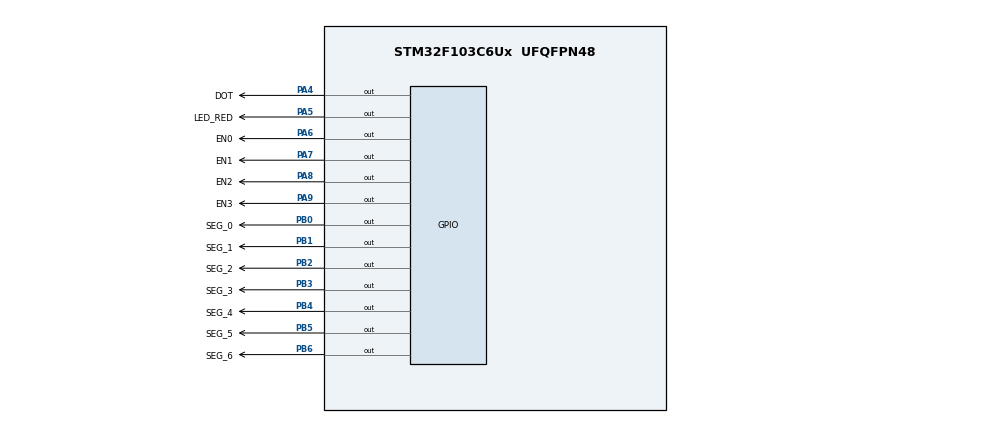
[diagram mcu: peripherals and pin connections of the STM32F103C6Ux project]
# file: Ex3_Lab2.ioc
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Mcu.Family=STM32F1
Mcu.Name=STM32F103C6Ux
Mcu.Package=UFQFPN48
NVIC.PriorityGroup=NVIC_PRIORITYGROUP_4
NVIC.TIM2_IRQn=true\:0\:0\:false\:false\:true\:true\:true
PA4.GPIO_Label=DOT
PA4.Signal=GPIO_Output
PA5.GPIO_Label=LED_RED
PA5.Signal=GPIO_Output
PA6.GPIO_Label=EN0
PA6.Signal=GPIO_Output
PA7.GPIO_Label=EN1
PA7.Signal=GPIO_Output
PA8.GPIO_Label=EN2
PA8.Signal=GPIO_Output
PA9.GPIO_Label=EN3
PA9.Signal=GPIO_Output
PB0.GPIO_Label=SEG_0
PB0.Signal=GPIO_Output
PB1.GPIO_Label=SEG_1
PB1.Signal=GPIO_Output
PB2.GPIO_Label=SEG_2
PB2.Signal=GPIO_Output
PB3.GPIO_Label=SEG_3
PB3.Signal=GPIO_Output
PB4.GPIO_Label=SEG_4
PB4.Signal=GPIO_Output
PB5.GPIO_Label=SEG_5
PB5.Signal=GPIO_Output
PB6.GPIO_Label=SEG_6
PB6.Signal=GPIO_Output
ProjectManager.HeapSize=0x200
ProjectManager.StackSize=0x400
ProjectManager.TargetToolchain=STM32CubeIDE
RCC.APB1Freq_Value=8000000
RCC.APB2Freq_Value=8000000
TIM2.Period=9
TIM2.Prescaler=7999
VP_SYS_VS_ND.Mode=No_Debug
VP_TIM2_VS_ClockSourceINT.Mode=Internal
board=custom

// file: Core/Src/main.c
/* USER CODE BEGIN Header */
/**
  ******************************************************************************
  * @file           : main.c
  * @brief          : Main program body
  ******************************************************************************
  * @attention
  *
  * <h2><center>&copy; Copyright (c) 2024 STMicroelectronics.
  * All rights reserved.</center></h2>
  *
  * This software component is licensed by ST under BSD 3-Clause license,
  * the "License"; You may not use this file except in compliance with the
  * License. You may obtain a copy of the License at:
  *                        opensource.org/licenses/BSD-3-Clause
  *
  ******************************************************************************
  */
/* USER CODE END Header */
#include "main.h"

TIM_HandleTypeDef htim2;

void SystemClock_Config(void);
static void MX_GPIO_Init(void);
static void MX_TIM2_Init(void);

int main(void)
{

  /* MCU Configuration--------------------------------------------------------*/

  /* Reset of all peripherals, Initializes the Flash interface and the Systick. */
  HAL_Init();

  /* Configure the system clock */
  SystemClock_Config();

  /* Initialize all configured peripherals */
  MX_GPIO_Init();
  MX_TIM2_Init();
  /* USER CODE BEGIN 2 */
  HAL_TIM_Base_Start_IT(&htim2);

  /* USER CODE END 2 */

  /* Infinite loop */
  while (1)
  {

  }
}

void SystemClock_Config(void)
{
  RCC_OscInitTypeDef RCC_OscInitStruct = {0};
  RCC_ClkInitTypeDef RCC_ClkInitStruct = {0};

  /** Initializes the RCC Oscillators according to the specified parameters
  * in the RCC_OscInitTypeDef structure.
  */
  RCC_OscInitStruct.OscillatorType = RCC_OSCILLATORTYPE_HSI;
  RCC_OscInitStruct.HSIState = RCC_HSI_ON;
  RCC_OscInitStruct.HSICalibrationValue = RCC_HSICALIBRATION_DEFAULT;
  RCC_OscInitStruct.PLL.PLLState = RCC_PLL_NONE;
  if (HAL_RCC_OscConfig(&RCC_OscInitStruct) != HAL_OK)
  {
    Error_Handler();
  }
  /** Initializes the CPU, AHB and APB buses clocks
  */
  RCC_ClkInitStruct.ClockType = RCC_CLOCKTYPE_HCLK|RCC_CLOCKTYPE_SYSCLK
                              |RCC_CLOCKTYPE_PCLK1|RCC_CLOCKTYPE_PCLK2;
  RCC_ClkInitStruct.SYSCLKSource = RCC_SYSCLKSOURCE_HSI;
  RCC_ClkInitStruct.AHBCLKDivider = RCC_SYSCLK_DIV1;
  RCC_ClkInitStruct.APB1CLKDivider = RCC_HCLK_DIV1;
  RCC_ClkInitStruct.APB2CLKDivider = RCC_HCLK_DIV1;

  if (HAL_RCC_ClockConfig(&RCC_ClkInitStruct, FLASH_LATENCY_0) != HAL_OK)
  {
    Error_Handler();
  }
}

static void MX_TIM2_Init(void)
{

  TIM_ClockConfigTypeDef sClockSourceConfig = {0};
  TIM_MasterConfigTypeDef sMasterConfig = {0};

  htim2.Instance = TIM2;
  htim2.Init.Prescaler = 7999;
  htim2.Init.CounterMode = TIM_COUNTERMODE_UP;
  htim2.Init.Period = 9;
  htim2.Init.ClockDivision = TIM_CLOCKDIVISION_DIV1;
  htim2.Init.AutoReloadPreload = TIM_AUTORELOAD_PRELOAD_DISABLE;
  if (HAL_TIM_Base_Init(&htim2) != HAL_OK)
  {
    Error_Handler();
  }
  sClockSourceConfig.ClockSource = TIM_CLOCKSOURCE_INTERNAL;
  if (HAL_TIM_ConfigClockSource(&htim2, &sClockSourceConfig) != HAL_OK)
  {
    Error_Handler();
  }
  sMasterConfig.MasterOutputTrigger = TIM_TRGO_RESET;
  sMasterConfig.MasterSlaveMode = TIM_MASTERSLAVEMODE_DISABLE;
  if (HAL_TIMEx_MasterConfigSynchronization(&htim2, &sMasterConfig) != HAL_OK)
  {
    Error_Handler();
  }

}

static void MX_GPIO_Init(void)
{
  GPIO_InitTypeDef GPIO_InitStruct = {0};

  /* GPIO Ports Clock Enable */
  __HAL_RCC_GPIOA_CLK_ENABLE();
  __HAL_RCC_GPIOB_CLK_ENABLE();

  /*Configure GPIO pin Output Level */
  HAL_GPIO_WritePin(GPIOA, DOT_Pin|LED_RED_Pin|EN0_Pin|EN1_Pin
                          |EN2_Pin|EN3_Pin, GPIO_PIN_RESET);

  /*Configure GPIO pin Output Level */
  HAL_GPIO_WritePin(GPIOB, SEG_0_Pin|SEG_1_Pin|SEG_2_Pin|SEG_3_Pin
                          |SEG_4_Pin|SEG_5_Pin|SEG_6_Pin, GPIO_PIN_RESET);

  /*Configure GPIO pins : DOT_Pin LED_RED_Pin EN0_Pin EN1_Pin
                           EN2_Pin EN3_Pin */
  GPIO_InitStruct.Pin = DOT_Pin|LED_RED_Pin|EN0_Pin|EN1_Pin
                          |EN2_Pin|EN3_Pin;
  GPIO_InitStruct.Mode = GPIO_MODE_OUTPUT_PP;
  GPIO_InitStruct.Pull = GPIO_NOPULL;
  GPIO_InitStruct.Speed = GPIO_SPEED_FREQ_LOW;
  HAL_GPIO_Init(GPIOA, &GPIO_InitStruct);

  /*Configure GPIO pins : SEG_0_Pin SEG_1_Pin SEG_2_Pin SEG_3_Pin
                           SEG_4_Pin SEG_5_Pin SEG_6_Pin */
  GPIO_InitStruct.Pin = SEG_0_Pin|SEG_1_Pin|SEG_2_Pin|SEG_3_Pin
                          |SEG_4_Pin|SEG_5_Pin|SEG_6_Pin;
  GPIO_InitStruct.Mode = GPIO_MODE_OUTPUT_PP;
  GPIO_InitStruct.Pull = GPIO_NOPULL;
  GPIO_InitStruct.Speed = GPIO_SPEED_FREQ_LOW;
  HAL_GPIO_Init(GPIOB, &GPIO_InitStruct);

}

/* USER CODE BEGIN 4 */
void display7SEG(int num)
  {
	  if (num == 0)
	  {
		  HAL_GPIO_WritePin(SEG_0_GPIO_Port, SEG_0_Pin, GPIO_PIN_RESET);
		  HAL_GPIO_WritePin(SEG_1_GPIO_Port, SEG_1_Pin, GPIO_PIN_RESET);
		  HAL_GPIO_WritePin(SEG_2_GPIO_Port, SEG_2_Pin, GPIO_PIN_RESET);
		  HAL_GPIO_WritePin(SEG_3_GPIO_Port, SEG_3_Pin, GPIO_PIN_RESET);
		  HAL_GPIO_WritePin(SEG_4_GPIO_Port, SEG_4_Pin, GPIO_PIN_RESET);
		  HAL_GPIO_WritePin(SEG_5_GPIO_Port, SEG_5_Pin, GPIO_PIN_RESET);
		  HAL_GPIO_WritePin(SEG_6_GPIO_Port, SEG_6_Pin, GPIO_PIN_SET);
	  }
	  else if (num == 1)
	  {
		  HAL_GPIO_WritePin(SEG_0_GPIO_Port, SEG_0_Pin, GPIO_PIN_SET);
		  HAL_GPIO_WritePin(SEG_1_GPIO_Port, SEG_1_Pin, GPIO_PIN_RESET);
		  HAL_GPIO_WritePin(SEG_2_GPIO_Port, SEG_2_Pin, GPIO_PIN_RESET);
		  HAL_GPIO_WritePin(SEG_3_GPIO_Port, SEG_3_Pin, GPIO_PIN_SET);
		  HAL_GPIO_WritePin(SEG_4_GPIO_Port, SEG_4_Pin, GPIO_PIN_SET);
		  HAL_GPIO_WritePin(SEG_5_GPIO_Port, SEG_5_Pin, GPIO_PIN_SET);
		  HAL_GPIO_WritePin(SEG_6_GPIO_Port, SEG_6_Pin, GPIO_PIN_SET);
	  }
	  else if (num == 2)
	  {
		  HAL_GPIO_WritePin(SEG_0_GPIO_Port, SEG_0_Pin, GPIO_PIN_RESET);
		  HAL_GPIO_WritePin(SEG_1_GPIO_Port, SEG_1_Pin, GPIO_PIN_RESET);
		  HAL_GPIO_WritePin(SEG_2_GPIO_Port, SEG_2_Pin, GPIO_PIN_SET);
		  HAL_GPIO_WritePin(SEG_3_GPIO_Port, SEG_3_Pin, GPIO_PIN_RESET);
		  HAL_GPIO_WritePin(SEG_4_GPIO_Port, SEG_4_Pin, GPIO_PIN_RESET);
		  HAL_GPIO_WritePin(SEG_5_GPIO_Port, SEG_5_Pin, GPIO_PIN_SET);
		  HAL_GPIO_WritePin(SEG_6_GPIO_Port, SEG_6_Pin, GPIO_PIN_RESET);
	  }
	  else if (num == 3)
	  {
		  HAL_GPIO_WritePin(SEG_0_GPIO_Port, SEG_0_Pin, GPIO_PIN_RESET);
		  HAL_GPIO_WritePin(SEG_1_GPIO_Port, SEG_1_Pin, GPIO_PIN_RESET);
		  HAL_GPIO_WritePin(SEG_2_GPIO_Port, SEG_2_Pin, GPIO_PIN_RESET);
		  HAL_GPIO_WritePin(SEG_3_GPIO_Port, SEG_3_Pin, GPIO_PIN_RESET);
		  HAL_GPIO_WritePin(SEG_4_GPIO_Port, SEG_4_Pin, GPIO_PIN_SET);
		  HAL_GPIO_WritePin(SEG_5_GPIO_Port, SEG_5_Pin, GPIO_PIN_SET);
		  HAL_GPIO_WritePin(SEG_6_GPIO_Port, SEG_6_Pin, GPIO_PIN_RESET);
	  }
	  else if (num == 4)
	  {
		  HAL_GPIO_WritePin(SEG_0_GPIO_Port, SEG_0_Pin, GPIO_PIN_SET);
		  HAL_GPIO_WritePin(SEG_1_GPIO_Port, SEG_1_Pin, GPIO_PIN_RESET);
		  HAL_GPIO_WritePin(SEG_2_GPIO_Port, SEG_2_Pin, GPIO_PIN_RESET);
		  HAL_GPIO_WritePin(SEG_3_GPIO_Port, SEG_3_Pin, GPIO_PIN_SET);
		  HAL_GPIO_WritePin(SEG_4_GPIO_Port, SEG_4_Pin, GPIO_PIN_SET);
		  HAL_GPIO_WritePin(SEG_5_GPIO_Port, SEG_5_Pin, GPIO_PIN_RESET);
		  HAL_GPIO_WritePin(SEG_6_GPIO_Port, SEG_6_Pin, GPIO_PIN_RESET);
	  }
	  else if (num == 5)
	  {
		  HAL_GPIO_WritePin(SEG_0_GPIO_Port, SEG_0_Pin, GPIO_PIN_RESET);
		  HAL_GPIO_WritePin(SEG_1_GPIO_Port, SEG_1_Pin, GPIO_PIN_SET);
		  HAL_GPIO_WritePin(SEG_2_GPIO_Port, SEG_2_Pin, GPIO_PIN_RESET);
		  HAL_GPIO_WritePin(SEG_3_GPIO_Port, SEG_3_Pin, GPIO_PIN_RESET);
		  HAL_GPIO_WritePin(SEG_4_GPIO_Port, SEG_4_Pin, GPIO_PIN_SET);
		  HAL_GPIO_WritePin(SEG_5_GPIO_Port, SEG_5_Pin, GPIO_PIN_RESET);
		  HAL_GPIO_WritePin(SEG_6_GPIO_Port, SEG_6_Pin, GPIO_PIN_RESET);
	  }
	  else if (num == 6)
	  {
		  HAL_GPIO_WritePin(SEG_0_GPIO_Port, SEG_0_Pin, GPIO_PIN_RESET);
		  HAL_GPIO_WritePin(SEG_1_GPIO_Port, SEG_1_Pin, GPIO_PIN_SET);
		  HAL_GPIO_WritePin(SEG_2_GPIO_Port, SEG_2_Pin, GPIO_PIN_RESET);
		  HAL_GPIO_WritePin(SEG_3_GPIO_Port, SEG_3_Pin, GPIO_PIN_RESET);
		  HAL_GPIO_WritePin(SEG_4_GPIO_Port, SEG_4_Pin, GPIO_PIN_RESET);
		  HAL_GPIO_WritePin(SEG_5_GPIO_Port, SEG_5_Pin, GPIO_PIN_RESET);
		  HAL_GPIO_WritePin(SEG_6_GPIO_Port, SEG_6_Pin, GPIO_PIN_RESET);
	  }
	  else if (num == 7)
	  {
		  HAL_GPIO_WritePin(SEG_0_GPIO_Port, SEG_0_Pin, GPIO_PIN_RESET);
		  HAL_GPIO_WritePin(SEG_1_GPIO_Port, SEG_1_Pin, GPIO_PIN_RESET);
		  HAL_GPIO_WritePin(SEG_2_GPIO_Port, SEG_2_Pin, GPIO_PIN_RESET);
		  HAL_GPIO_WritePin(SEG_3_GPIO_Port, SEG_3_Pin, GPIO_PIN_SET);
		  HAL_GPIO_WritePin(SEG_4_GPIO_Port, SEG_4_Pin, GPIO_PIN_SET);
		  HAL_GPIO_WritePin(SEG_5_GPIO_Port, SEG_5_Pin, GPIO_PIN_SET);
		  HAL_GPIO_WritePin(SEG_6_GPIO_Port, SEG_6_Pin, GPIO_PIN_SET);
	  }
	  else if (num == 8)
	  {
		  HAL_GPIO_WritePin(SEG_0_GPIO_Port, SEG_0_Pin, GPIO_PIN_RESET);
		  HAL_GPIO_WritePin(SEG_1_GPIO_Port, SEG_1_Pin, GPIO_PIN_RESET);
		  HAL_GPIO_WritePin(SEG_2_GPIO_Port, SEG_2_Pin, GPIO_PIN_RESET);
		  HAL_GPIO_WritePin(SEG_3_GPIO_Port, SEG_3_Pin, GPIO_PIN_RESET);
		  HAL_GPIO_WritePin(SEG_4_GPIO_Port, SEG_4_Pin, GPIO_PIN_RESET);
		  HAL_GPIO_WritePin(SEG_5_GPIO_Port, SEG_5_Pin, GPIO_PIN_RESET);
		  HAL_GPIO_WritePin(SEG_6_GPIO_Port, SEG_6_Pin, GPIO_PIN_RESET);
	  }
	  else if (num == 9)
	  {
		  HAL_GPIO_WritePin(SEG_0_GPIO_Port, SEG_0_Pin, GPIO_PIN_RESET);
		  HAL_GPIO_WritePin(SEG_1_GPIO_Port, SEG_1_Pin, GPIO_PIN_RESET);
		  HAL_GPIO_WritePin(SEG_2_GPIO_Port, SEG_2_Pin, GPIO_PIN_RESET);
		  HAL_GPIO_WritePin(SEG_3_GPIO_Port, SEG_3_Pin, GPIO_PIN_RESET);
		  HAL_GPIO_WritePin(SEG_4_GPIO_Port, SEG_4_Pin, GPIO_PIN_SET);
		  HAL_GPIO_WritePin(SEG_5_GPIO_Port, SEG_5_Pin, GPIO_PIN_RESET);
		  HAL_GPIO_WritePin(SEG_6_GPIO_Port, SEG_6_Pin, GPIO_PIN_RESET);
	  }
  }

const int MAX_LED = 4;
int index_led = 0;
int led_buffer[4] = {5, 6, 7, 8};
void update7SEG(int index)
{
	switch (index)
	{
	case 0:
		HAL_GPIO_WritePin(EN0_GPIO_Port, EN0_Pin, GPIO_PIN_RESET);
		HAL_GPIO_WritePin(EN1_GPIO_Port, EN1_Pin, GPIO_PIN_SET);
		HAL_GPIO_WritePin(EN2_GPIO_Port, EN2_Pin, GPIO_PIN_SET);
		HAL_GPIO_WritePin(EN3_GPIO_Port, EN3_Pin, GPIO_PIN_SET);
		display7SEG(led_buffer[0]);
		break;
	case 1:
		HAL_GPIO_WritePin(EN0_GPIO_Port, EN0_Pin, GPIO_PIN_SET);
		HAL_GPIO_WritePin(EN1_GPIO_Port, EN1_Pin, GPIO_PIN_RESET);
		HAL_GPIO_WritePin(EN2_GPIO_Port, EN2_Pin, GPIO_PIN_SET);
		HAL_GPIO_WritePin(EN3_GPIO_Port, EN3_Pin, GPIO_PIN_SET);
		display7SEG(led_buffer[1]);
		break;
	case 2:
		HAL_GPIO_WritePin(EN0_GPIO_Port, EN0_Pin, GPIO_PIN_SET);
		HAL_GPIO_WritePin(EN1_GPIO_Port, EN1_Pin, GPIO_PIN_SET);
		HAL_GPIO_WritePin(EN2_GPIO_Port, EN2_Pin, GPIO_PIN_RESET);
		HAL_GPIO_WritePin(EN3_GPIO_Port, EN3_Pin, GPIO_PIN_SET);
		display7SEG(led_buffer[2]);
		break;
	case 3:
		HAL_GPIO_WritePin(EN0_GPIO_Port, EN0_Pin, GPIO_PIN_SET);
		HAL_GPIO_WritePin(EN1_GPIO_Port, EN1_Pin, GPIO_PIN_SET);
		HAL_GPIO_WritePin(EN2_GPIO_Port, EN2_Pin, GPIO_PIN_SET);
		HAL_GPIO_WritePin(EN3_GPIO_Port, EN3_Pin, GPIO_PIN_RESET);
		display7SEG(led_buffer[3]);
		break;
	default:
		break;
	}
}

int counter = 50;
int counter1 = 100;
void HAL_TIM_PeriodElapsedCallback(TIM_HandleTypeDef *htim)
{
	counter--;
	if(counter <= 0)
	{
		counter = 50;
		update7SEG(index_led++);
		if(index_led > 3)
		{
			index_led = 0;
		}
	}
	counter1--;
	if(counter1 <= 0)
	{
		counter1 = 100;
		HAL_GPIO_TogglePin(LED_RED_GPIO_Port, LED_RED_Pin);
		HAL_GPIO_TogglePin(DOT_GPIO_Port, DOT_Pin);
	}
}

/* USER CODE END 4 */

void Error_Handler(void)
{
  __disable_irq();
  while (1)
  {
  }
}

/************************ (C) COPYRIGHT STMicroelectronics *****END OF FILE****/
